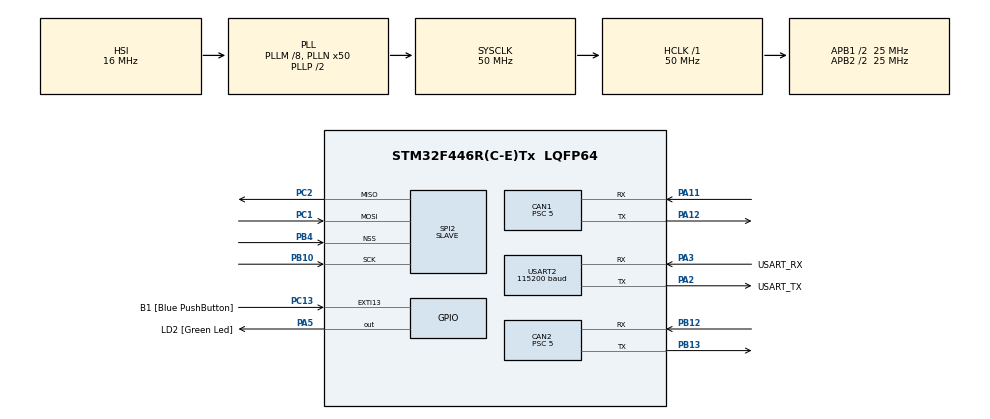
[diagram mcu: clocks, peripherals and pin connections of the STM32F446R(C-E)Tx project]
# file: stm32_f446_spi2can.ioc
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CAN1.BS1=CAN_BS1_8TQ
CAN1.CalculateTimeQuantum=200.0
CAN1.Prescaler=5
CAN2.BS1=CAN_BS1_8TQ
CAN2.CalculateTimeQuantum=200.0
CAN2.Prescaler=5
Mcu.Family=STM32F4
Mcu.Name=STM32F446R(C-E)Tx
Mcu.Package=LQFP64
NVIC.CAN1_RX0_IRQn=true\:0\:0\:false\:false\:true\:true\:true
NVIC.CAN1_TX_IRQn=true\:0\:0\:false\:false\:true\:true\:true
NVIC.CAN2_RX0_IRQn=true\:0\:0\:false\:false\:true\:true\:true
NVIC.CAN2_TX_IRQn=true\:0\:0\:false\:false\:true\:true\:true
NVIC.PriorityGroup=NVIC_PRIORITYGROUP_0
PA11.GPIO_PuPd=GPIO_NOPULL
PA11.Mode=Master
PA11.Signal=CAN1_RX
PA12.GPIO_PuPd=GPIO_PULLUP
PA12.Mode=Master
PA12.Signal=CAN1_TX
PA13.GPIO_Label=TMS
PA13.Mode=Serial_Wire
PA13.Signal=SYS_JTMS-SWDIO
PA14.GPIO_Label=TCK
PA14.Mode=Serial_Wire
PA14.Signal=SYS_JTCK-SWCLK
PA2.GPIO_Label=USART_TX
PA2.Mode=Asynchronous
PA2.Signal=USART2_TX
PA3.GPIO_Label=USART_RX
PA3.Mode=Asynchronous
PA3.Signal=USART2_RX
PA5.GPIO_Label=LD2 [Green Led]
PA5.Signal=GPIO_Output
PB10.GPIO_PuPd=GPIO_PULLUP
PB10.Mode=Full_Duplex_Slave
PB10.Signal=SPI2_SCK
PB12.GPIO_PuPd=GPIO_PULLUP
PB12.Mode=Slave
PB12.Signal=CAN2_RX
PB13.GPIO_PuPd=GPIO_PULLUP
PB13.Mode=Slave
PB13.Signal=CAN2_TX
PB3.GPIO_Label=SWO
PB3.Signal=SYS_JTDO-SWO
PB4.GPIO_PuPd=GPIO_PULLUP
PB4.Mode=NSS_Signal_Hard_Input
PB4.Signal=SPI2_NSS
PC1.GPIO_PuPd=GPIO_PULLUP
PC1.Mode=Full_Duplex_Slave
PC1.Signal=SPI2_MOSI
PC13.GPIO_Label=B1 [Blue PushButton]
PC13.GPIO_ModeDefaultEXTI=GPIO_MODE_IT_FALLING
PC13.Signal=GPXTI13
PC14-OSC32_IN.Mode=LSE-External-Oscillator
PC14-OSC32_IN.Signal=RCC_OSC32_IN
PC15-OSC32_OUT.Mode=LSE-External-Oscillator
PC15-OSC32_OUT.Signal=RCC_OSC32_OUT
PC2.GPIO_PuPd=GPIO_PULLUP
PC2.Mode=Full_Duplex_Slave
PC2.Signal=SPI2_MISO
PH0-OSC_IN.Mode=HSE-External-Oscillator
PH0-OSC_IN.Signal=RCC_OSC_IN
PH1-OSC_OUT.Mode=HSE-External-Oscillator
PH1-OSC_OUT.Signal=RCC_OSC_OUT
ProjectManager.HeapSize=0x200
ProjectManager.StackSize=0x400
ProjectManager.TargetToolchain=STM32CubeIDE
RCC.48MHZClocksFreq_Value=84000000
RCC.AHBFreq_Value=50000000
RCC.APB1CLKDivider=RCC_HCLK_DIV2
RCC.APB1Freq_Value=25000000
RCC.APB1TimFreq_Value=50000000
RCC.APB2CLKDivider=RCC_HCLK_DIV2
RCC.APB2Freq_Value=25000000
RCC.APB2TimFreq_Value=50000000
RCC.CortexFreq_Value=50000000
RCC.FLatency-AdvancedSettings=FLASH_LATENCY_1
RCC.HCLKFreq_Value=50000000
RCC.HSE_VALUE=8000000
RCC.HSI_VALUE=16000000
RCC.PLLM=8
RCC.PLLN=50
RCC.SYSCLKFreq_VALUE=50000000
RCC.SYSCLKSource=RCC_SYSCLKSOURCE_PLLCLK
RCC.USBFreq_Value=50000000
RCC.VCOOutputFreq_Value=100000000
SPI2.CLKPhase=SPI_PHASE_2EDGE
SPI2.Direction=SPI_DIRECTION_2LINES
SPI2.Mode=SPI_MODE_SLAVE
SPI2.VirtualNSS=VM_NSSHARD
SPI2.VirtualType=VM_SLAVE
USART2.BaudRate=115200
USART2.VirtualMode=VM_ASYNC
board=NUCLEO-F446RE

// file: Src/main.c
/* USER CODE BEGIN Header */
/**
  ******************************************************************************
  * @file           : main.c
  * @brief          : Main program body
  ******************************************************************************
  * @attention
  *
  * <h2><center>&copy; Copyright (c) 2019 STMicroelectronics.
  * All rights reserved.</center></h2>
  *
  * This software component is licensed by ST under BSD 3-Clause license,
  * the "License"; You may not use this file except in compliance with the
  * License. You may obtain a copy of the License at:
  *                        opensource.org/licenses/BSD-3-Clause
  *
  ******************************************************************************
  */
/* USER CODE END Header */

#include "main.h"

CAN_HandleTypeDef hcan1;
CAN_HandleTypeDef hcan2;

SPI_HandleTypeDef hspi2;

UART_HandleTypeDef huart2;

/* USER CODE BEGIN PV */
CAN_FilterTypeDef sFilterConfig; //フィルタ
CAN_TxHeaderTypeDef TxHeader; //Txのヘッダ
CAN_RxHeaderTypeDef RxHeader; //Rxのヘッダ
uint8_t TxData[8]; //CANにて送るデータ
uint8_t RxData[8]; //CANにて受け取ったデータ
int set_point=1000;
uint32_t TxMailbox;
uint8_t can_id_list[] = {0x00,0x01,0x02,0x03}; //odrive axis node id
uint8_t can_id = 0;
//uint8_t control_mode = 0x00C;//control mode
//uint8_t control_mode = 0x009;
uint8_t control_mode = 0x017;
uint8_t cmd_data = 0x00;
uint8_t can_get_flag = 0; //canを受信したかどうかのflag

//SPI通信関連
uint8_t aTxBuffer[6]={'A','B','C','D','E','F'};
uint8_t aRxBuffer[6]={0};

/* USER CODE END PV */

void SystemClock_Config(void);
static void MX_GPIO_Init(void);
static void MX_USART2_UART_Init(void);
static void MX_CAN1_Init(void);
static void MX_CAN2_Init(void);
static void MX_SPI2_Init(void);

int main(void)
{

  /* MCU Configuration--------------------------------------------------------*/

  /* Reset of all peripherals, Initializes the Flash interface and the Systick. */
  HAL_Init();

  /* Configure the system clock */
  SystemClock_Config();

  /* Initialize all configured peripherals */
  MX_GPIO_Init();
  MX_USART2_UART_Init();
  MX_CAN1_Init();
  MX_CAN2_Init();
  MX_SPI2_Init();
  /* USER CODE BEGIN 2 */
  //CANの設定
  //フィルタの設定
  sFilterConfig.FilterBank = 0;
  sFilterConfig.FilterMode = CAN_FILTERMODE_IDMASK;
  sFilterConfig.FilterScale = CAN_FILTERSCALE_32BIT;
  sFilterConfig.FilterIdHigh = 0x0000;
  sFilterConfig.FilterIdLow = 0x0000;
  sFilterConfig.FilterMaskIdHigh = 0x0000;
  sFilterConfig.FilterMaskIdLow = 0x0000;
  sFilterConfig.FilterFIFOAssignment = CAN_RX_FIFO0;
  sFilterConfig.FilterActivation=ENABLE;
  sFilterConfig.SlaveStartFilterBank=14;

  //フィルタをcan1に適用
  if(HAL_CAN_ConfigFilter(&hcan1,&sFilterConfig) != HAL_OK)
  {
    Error_Handler();
  }

  //can1をスタート
  if(HAL_CAN_Start(&hcan1)!=HAL_OK)
  {
    Error_Handler();
  }

  //can1の割り込みを許可
  if(HAL_CAN_ActivateNotification(&hcan1,CAN_IT_RX_FIFO0_MSG_PENDING | CAN_IT_TX_MAILBOX_EMPTY) != HAL_OK)
  {
	Error_Handler();
  }

  /* USER CODE END 2 */

  /* Infinite loop */
  while (1)
  {

    /* USER CODE BEGIN 3 */

	  //spiの受信待ち
	  //HAL_SPI_TransmitReceive(&hspi2,(uint8_t*)aTxBuffer,(uint8_t*)aRxBuffer,6,0xFFFFFFFF);
	  //HAL_SPI_TransmitReceive_DMA(&hspi2, aTxBuffer, aRxBuffer, 6);
	  can_get_flag = 0;

	  //spiで受け取ったデータを分解
	  //can_id = 1;//can_id_list[aRxBuffer[0]]; //spiで受け取った値

	  //can_idが0の場合は何もしない処理
	  if(can_id == 0){
		  continue;
	  }
	  cmd_data =1;// aRxBuffer[1];
	  switch(cmd_data){
	  	  case 0x01://ポジションを送る
	  		  can_get_flag = 1;
	  		  TxHeader.StdId=(can_id << 5) + (0x00C); //can_id, コントロールcmd
	  		  TxHeader.RTR = 0;//CAN_RTR_DATA;
	  		  TxHeader.IDE = CAN_ID_STD;
	  		  TxHeader.DLC = 0x08;
	  		  TxHeader.TransmitGlobalTime = DISABLE;
	  		  TxData[0] = set_point;//aRxBuffer[2];
	  		  TxData[1] = set_point >> 8;//aRxBuffer[3];
	  		  TxData[2] = set_point >> 16;//aRxBuffer[4];
	  		  TxData[3] = set_point >> 24;//aRxBuffer[5];
	  		  TxData[4] = 0;
	  		  TxData[5] = 0;
	  		  TxData[6] = 0;
	  		  TxData[7] = 0;
	  		  HAL_CAN_AddTxMessage(&hcan1,&TxHeader,TxData,&TxMailbox);
	  		  break;

	  	  case 0x02://ポジションを受け取る
	  		  TxHeader.StdId=(can_id << 5) + (0x009); //can_id, コントロールcmd
	  		  TxHeader.RTR = 2;//CAN_RTR_DATA;
	  		  TxHeader.IDE = CAN_ID_STD;
	  		  TxHeader.DLC = 0x08;
	  		  TxHeader.TransmitGlobalTime = DISABLE;
	  		  TxData[0] = 0;
	  		  TxData[1] = 0;
	  		  TxData[2] = 0;
	  		  TxData[3] = 0;
	  		  TxData[4] = 0;
	  		  TxData[5] = 0;
	  		  TxData[6] = 0;
	  		  TxData[7] = 0;
	  		  HAL_CAN_AddTxMessage(&hcan1,&TxHeader,TxData,&TxMailbox);
	  		  break;

	  	  default:
	  		 can_get_flag=1;
	  }
	  can_id=2;
	  //while(!can_get_flag){asm("NOP");}//nopいるか

  }
  /* USER CODE END 3 */
}

void SystemClock_Config(void)
{
  RCC_OscInitTypeDef RCC_OscInitStruct = {0};
  RCC_ClkInitTypeDef RCC_ClkInitStruct = {0};

  /** Configure the main internal regulator output voltage
  */
  __HAL_RCC_PWR_CLK_ENABLE();
  __HAL_PWR_VOLTAGESCALING_CONFIG(PWR_REGULATOR_VOLTAGE_SCALE3);
  /** Initializes the CPU, AHB and APB busses clocks
  */
  RCC_OscInitStruct.OscillatorType = RCC_OSCILLATORTYPE_HSI;
  RCC_OscInitStruct.HSIState = RCC_HSI_ON;
  RCC_OscInitStruct.HSICalibrationValue = RCC_HSICALIBRATION_DEFAULT;
  RCC_OscInitStruct.PLL.PLLState = RCC_PLL_ON;
  RCC_OscInitStruct.PLL.PLLSource = RCC_PLLSOURCE_HSI;
  RCC_OscInitStruct.PLL.PLLM = 8;
  RCC_OscInitStruct.PLL.PLLN = 50;
  RCC_OscInitStruct.PLL.PLLP = RCC_PLLP_DIV2;
  RCC_OscInitStruct.PLL.PLLQ = 2;
  RCC_OscInitStruct.PLL.PLLR = 2;
  if (HAL_RCC_OscConfig(&RCC_OscInitStruct) != HAL_OK)
  {
    Error_Handler();
  }
  /** Initializes the CPU, AHB and APB busses clocks
  */
  RCC_ClkInitStruct.ClockType = RCC_CLOCKTYPE_HCLK|RCC_CLOCKTYPE_SYSCLK
                              |RCC_CLOCKTYPE_PCLK1|RCC_CLOCKTYPE_PCLK2;
  RCC_ClkInitStruct.SYSCLKSource = RCC_SYSCLKSOURCE_PLLCLK;
  RCC_ClkInitStruct.AHBCLKDivider = RCC_SYSCLK_DIV1;
  RCC_ClkInitStruct.APB1CLKDivider = RCC_HCLK_DIV2;
  RCC_ClkInitStruct.APB2CLKDivider = RCC_HCLK_DIV2;

  if (HAL_RCC_ClockConfig(&RCC_ClkInitStruct, FLASH_LATENCY_1) != HAL_OK)
  {
    Error_Handler();
  }
}

static void MX_CAN1_Init(void)
{

  hcan1.Instance = CAN1;
  hcan1.Init.Prescaler = 5;
  hcan1.Init.Mode = CAN_MODE_NORMAL;
  hcan1.Init.SyncJumpWidth = CAN_SJW_1TQ;
  hcan1.Init.TimeSeg1 = CAN_BS1_8TQ;
  hcan1.Init.TimeSeg2 = CAN_BS2_1TQ;
  hcan1.Init.TimeTriggeredMode = DISABLE;
  hcan1.Init.AutoBusOff = DISABLE;
  hcan1.Init.AutoWakeUp = DISABLE;
  hcan1.Init.AutoRetransmission = DISABLE;
  hcan1.Init.ReceiveFifoLocked = DISABLE;
  hcan1.Init.TransmitFifoPriority = DISABLE;
  if (HAL_CAN_Init(&hcan1) != HAL_OK)
  {
    Error_Handler();
  }

}

static void MX_CAN2_Init(void)
{

  hcan2.Instance = CAN2;
  hcan2.Init.Prescaler = 5;
  hcan2.Init.Mode = CAN_MODE_NORMAL;
  hcan2.Init.SyncJumpWidth = CAN_SJW_1TQ;
  hcan2.Init.TimeSeg1 = CAN_BS1_8TQ;
  hcan2.Init.TimeSeg2 = CAN_BS2_1TQ;
  hcan2.Init.TimeTriggeredMode = DISABLE;
  hcan2.Init.AutoBusOff = DISABLE;
  hcan2.Init.AutoWakeUp = DISABLE;
  hcan2.Init.AutoRetransmission = DISABLE;
  hcan2.Init.ReceiveFifoLocked = DISABLE;
  hcan2.Init.TransmitFifoPriority = DISABLE;
  if (HAL_CAN_Init(&hcan2) != HAL_OK)
  {
    Error_Handler();
  }

}

static void MX_SPI2_Init(void)
{

  /* SPI2 parameter configuration*/
  hspi2.Instance = SPI2;
  hspi2.Init.Mode = SPI_MODE_SLAVE;
  hspi2.Init.Direction = SPI_DIRECTION_2LINES;
  hspi2.Init.DataSize = SPI_DATASIZE_8BIT;
  hspi2.Init.CLKPolarity = SPI_POLARITY_LOW;
  hspi2.Init.CLKPhase = SPI_PHASE_2EDGE;
  hspi2.Init.NSS = SPI_NSS_HARD_INPUT;
  hspi2.Init.FirstBit = SPI_FIRSTBIT_MSB;
  hspi2.Init.TIMode = SPI_TIMODE_DISABLE;
  hspi2.Init.CRCCalculation = SPI_CRCCALCULATION_DISABLE;
  hspi2.Init.CRCPolynomial = 10;
  if (HAL_SPI_Init(&hspi2) != HAL_OK)
  {
    Error_Handler();
  }

}

static void MX_USART2_UART_Init(void)
{

  huart2.Instance = USART2;
  huart2.Init.BaudRate = 115200;
  huart2.Init.WordLength = UART_WORDLENGTH_8B;
  huart2.Init.StopBits = UART_STOPBITS_1;
  huart2.Init.Parity = UART_PARITY_NONE;
  huart2.Init.Mode = UART_MODE_TX_RX;
  huart2.Init.HwFlowCtl = UART_HWCONTROL_NONE;
  huart2.Init.OverSampling = UART_OVERSAMPLING_16;
  if (HAL_UART_Init(&huart2) != HAL_OK)
  {
    Error_Handler();
  }

}

static void MX_GPIO_Init(void)
{
  GPIO_InitTypeDef GPIO_InitStruct = {0};

  /* GPIO Ports Clock Enable */
  __HAL_RCC_GPIOC_CLK_ENABLE();
  __HAL_RCC_GPIOH_CLK_ENABLE();
  __HAL_RCC_GPIOA_CLK_ENABLE();
  __HAL_RCC_GPIOB_CLK_ENABLE();

  /*Configure GPIO pin Output Level */
  HAL_GPIO_WritePin(LD2_GPIO_Port, LD2_Pin, GPIO_PIN_RESET);

  /*Configure GPIO pin : B1_Pin */
  GPIO_InitStruct.Pin = B1_Pin;
  GPIO_InitStruct.Mode = GPIO_MODE_IT_FALLING;
  GPIO_InitStruct.Pull = GPIO_NOPULL;
  HAL_GPIO_Init(B1_GPIO_Port, &GPIO_InitStruct);

  /*Configure GPIO pin : LD2_Pin */
  GPIO_InitStruct.Pin = LD2_Pin;
  GPIO_InitStruct.Mode = GPIO_MODE_OUTPUT_PP;
  GPIO_InitStruct.Pull = GPIO_NOPULL;
  GPIO_InitStruct.Speed = GPIO_SPEED_FREQ_LOW;
  HAL_GPIO_Init(LD2_GPIO_Port, &GPIO_InitStruct);

}

/* USER CODE BEGIN 4 */

void HAL_CAN_TxMailbox0CompleteCallack(CAN_HandleTypeDef *hcan)
{
	  HAL_GPIO_WritePin(GPIOB,GPIO_PIN_3,1);
}

//CAN通信の受信割り込み
void HAL_CAN_RxFifo0MsgPendingCallback(CAN_HandleTypeDef *hcan_)
{
  //HAL_CAN_GetRxMessage(&hcan,CAN_RX_FIFO0,&RxHeader,RxData);
	HAL_CAN_GetRxMessage(hcan_,CAN_RX_FIFO0,&RxHeader,RxData);
	for(int i=0; i < 6; i++){
		aRxBuffer[i] = RxData[i];
	}

	can_get_flag = 1;//受信完了フラグ

  //HAL_UART_Transmit(&huart2,&RxHeader.StdId,sizeof(&RxHeader.StdId),0xFFFF);

  /*
  for(int j=0; j< 4; j++){
	  HAL_UART_Transmit(&huart2,&RxData[j],1,0xFFFF);
	  HAL_Delay(10);
  }
*/
  //HAL_UART_Transmit(&huart2,RxData,4,0xFFFF);

}

/* USER CODE END 4 */

void Error_Handler(void)
{
}

/************************ (C) COPYRIGHT STMicroelectronics *****END OF FILE****/
